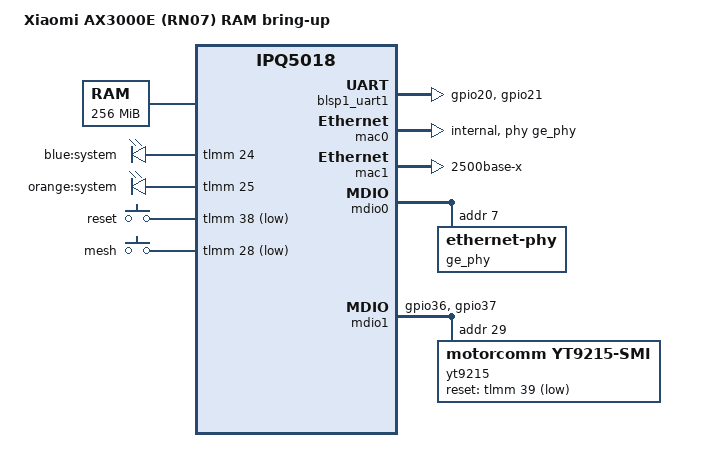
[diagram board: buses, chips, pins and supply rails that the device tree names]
// SPDX-License-Identifier: (GPL-2.0+)
/* Offline RN07 candidate; not a validated port or installation image.
 * Based on CR881x plus RN07 stock 1.0.24 DTB and yt_switch.ko evidence.
 * Flash and radio nodes remain disabled for initial RAM-only bring-up.
 * See docs/VALIDATION.md for the historical profile and remaining limits.
 */

/dts-v1/;

#include "ipq5018.dtsi"
#include <dt-bindings/gpio/gpio.h>
#include <dt-bindings/input/input.h>

/ {
	model = "Xiaomi AX3000E (RN07) RAM bring-up";
	compatible = "xiaomi,rn07", "qcom,ipq5018";

	#address-cells = <2>;
	#size-cells = <2>;
	interrupt-parent = <&intc>;

	memory@40000000 {
		device_type = "memory";
		/* Captured stock runtime FDT: 256 MiB, not the generic 512 MiB. */
		reg = <0 0x40000000 0 0x10000000>;
	};

	aliases {
		serial0 = &blsp1_uart1;

		ethernet0 = &mac0;
		ethernet1 = &mac1;

		led-boot = &led_system_blue;
		led-failsafe = &led_system_orange;
		led-running = &led_system_blue;
		led-upgrade = &led_system_orange;
	};

	chosen {
		// Never select a persistent rootfs in the RAM-only candidate.
		bootargs = "console=ttyMSM0,115200n8";
		bootargs-append = " root=/dev/ram0 rdinit=/init";
		stdout-path = "serial0:115200n8";
	};

	reserved-memory {
		/* Preserve the captured stock runtime DDR reservation union. */
		nss@40000000 {
			no-map;
			reg = <0 0x40000000 0 0x800000>;
		};
		uboot@4a800000 {
			no-map;
			reg = <0 0x4a800000 0 0x200000>;
		};
		sbl@4aa00000 {
			no-map;
			reg = <0 0x4aa00000 0 0x100000>;
		};

		q6_mem_regions: q6_mem_regions@4b000000 {
			no-map;
			reg = <0x0 0x4b000000 0x0 0x3000000>;
		};

		rsvd1@4e000000 {
			no-map;
			reg = <0 0x4e000000 0 0x80000>;
		};
		rsvd2@4e080000 {
			no-map;
			reg = <0 0x4e080000 0 0x80000>;
		};
	};

	thermal-zones {
		status = "ok";
	};
};

&tlmm {
	#address-cells = <0>;
	blsp_uart0_pins: blsp_uart0_pins {
		pins =
			"gpio20", // RX
			"gpio21"; // TX
		function = "blsp0_uart0";
		drive-strength = <8>;
		bias-disable;
	};

	qspi_nand_pins: qspi_nand_pins {
		clock {
			pins = "gpio9";
			function = "qspi_clk";
			drive-strength = <8>;
			bias-disable;
		};

		cs {
			pins = "gpio8";
			function = "qspi_cs";
			drive-strength = <8>;
			bias-disable;
		};

		data0 {
			pins = "gpio7";
			function = "qspi0";
			drive-strength = <8>;
			bias-disable;
		};

		data1 {
			pins = "gpio6";
			function = "qspi1";
			drive-strength = <8>;
			bias-disable;
		};

		data2 {
			pins = "gpio5";
			function = "qspi2";
			drive-strength = <8>;
			bias-disable;
		};

		data3 {
			pins = "gpio4";
			function = "qspi3";
			drive-strength = <8>;
			bias-disable;
		};
	};

	mdio1_pins: mdio1_pins {
		mdc {
			pins = "gpio36";
			function = "mdc";
			drive-strength = <8>;
			bias-pull-up;
		};

		mdio {
			pins = "gpio37";
			function = "mdio";
			drive-strength = <8>;
			bias-pull-up;
		};
	};

	leds_pins: leds_pins {
		led_system_blue {
			pins = "gpio24";
			function = "gpio";
			drive-strength = <8>;
			bias-pull-down;
		};

		led_system_orange {
			pins = "gpio25";
			function = "gpio";
			drive-strength = <8>;
			bias-pull-down;
		};


	};

	button_pins: button_pins {
		button_reset {
			pins = "gpio38";
			function = "gpio";
			drive-strength = <8>;
			bias-pull-up;
		};

		button_mesh {
			pins = "gpio28";
			function = "gpio";
			drive-strength = <8>;
			bias-pull-up;
		};
	};
};

&blsp1_uart1 {
	pinctrl-0 = <&blsp_uart0_pins>;
	pinctrl-names = "default";
	status = "ok";
};

&qpic_bam {
	status = "disabled";
};

&nand {
	pinctrl-0 = <&qspi_nand_pins>;
	pinctrl-names = "default";
	status = "disabled";
};

&soc {
	dma-ranges = <0 0 0 0xffffffff>;
	leds {
		compatible = "gpio-leds";
		pinctrl-0 = <&leds_pins>;
		pinctrl-names = "default";

		led_system_blue: led_system_blue {
			label = "blue:system";
			gpios = <&tlmm 24 GPIO_ACTIVE_HIGH>;
			default-state = "on";
		};

		led_system_orange: led_system_orange {
			label = "orange:system";
			gpios = <&tlmm 25 GPIO_ACTIVE_HIGH>;
		};


	};

	button {
		compatible = "gpio-keys";
		pinctrl-0 = <&button_pins>;
		pinctrl-names = "default";

		button_reset {
			label = "reset";
			gpios = <&tlmm 38 GPIO_ACTIVE_LOW>;
			linux,input-type = <EV_KEY>;
			linux,code = <KEY_RESTART>;
			debounce-interval = <60>;
		};

		button_mesh {
			label = "mesh";
			gpios = <&tlmm 28 GPIO_ACTIVE_LOW>;
			linux,input-type = <EV_KEY>;
			linux,code = <KEY_WPS_BUTTON>;
			debounce-interval = <60>;
		};
	};

	ess-instance {
		#address-cells = <1>;
		#size-cells = <1>;
		ranges;
		num_devices = <1>;

		// Dummy switch, to describe how the external ports connects to the MAC
		// For example, some chips have PSGMII ports which combine 5 MAC into
		// 1 external port.
		// For IPQ50xx, this is used to choose SGMII or SGMII-plus
		ess-switch@0x39c00000 {
			compatible = "qcom,ess-switch-ipq50xx";
			device_id = <0>;

			cmnblk_clk = "internal_96MHz";

			// MAC1 Mode
			switch_mac_mode = <0xc>; // PORT_WRAPPER_SGMII_PLUS
			// switch_mac_mode = <0xf>; // PORT_WRAPPER_SGMII_CHANNEL0

			qcom,port_phyinfo {
				// MAC0 -> GE Phy -> YT9215 Phy4
				port@0 {
					port_id = <1>;

					mdiobus = <&mdio0>;
					phy_address = <7>;

					phy_dac = <0x10 0x10>;
				};

				// MAC1 ---SGMII---> YT9215 SerDes
				port@1 {
					port_id = <2>;

					forced-speed = <2500>;
					forced-duplex = <1>;
				};
			};
		};
	};

	// MAC0 -> GE Phy
	mac0: dp1 {
		compatible = "qcom,nss-dp";
		device_type = "network";
		qcom,id = <1>;

		reg = <0x39C00000 0x10000>;
		interrupts = <GIC_SPI 101 IRQ_TYPE_LEVEL_HIGH>;
		clocks = <&gcc GCC_SNOC_GMAC0_AXI_CLK>;
		clock-names = "nss-snoc-gmac-axi-clk";

		qcom,mactype = <2>; // GMAC_HAL_TYPE_SYN_GMAC
		local-mac-address = [000000000000];
		phy-handle = <&ge_phy>;
		phy-mode = "internal";
	};

	// MAC1 ---SGMII---> YT9215 SerDes
	mac1: dp2 {
		compatible = "qcom,nss-dp";
		device_type = "network";
		qcom,id = <2>;

		reg = <0x39D00000 0x10000>;
		interrupts = <GIC_SPI 109 IRQ_TYPE_LEVEL_HIGH>;
		clocks = <&gcc GCC_SNOC_GMAC1_AXI_CLK>;
		clock-names = "nss-snoc-gmac-axi-clk";

		qcom,mactype = <2>; // GMAC_HAL_TYPE_SYN_GMAC
		local-mac-address = [000000000000];
		phy-mode = "2500base-x";
	};
};

&mdio0 {
	status = "ok";

	resets = <&gcc GCC_GEPHY_MDC_SW_ARES>;
	reset-names = "phy";

	// IPQ5018 GE Phy -> YT9215 Phy4
	ge_phy: ethernet-phy@7 {
		reg = <7>;
	};
};

&mdio1 {
	pinctrl-0 = <&mdio1_pins>;
	pinctrl-names = "default";
	status = "ok";

	// Motorcomm YT9215
	yt9215: switch@1d {
		compatible = "motorcomm,yt9215-smi";
		reg = <29>;
		switchid = <0>;

		reset-gpios = <&tlmm 39 GPIO_ACTIVE_LOW>;
		reset-assert-us = <100000>; /* stock driver: 100-110 ms */
		reset-deassert-us = <150000>; /* stock driver: 150-200 ms */

		ports {
			#address-cells = <1>;
			#size-cells = <0>;
			// External jack 4 (stock API maps 4 - jack to PHY)
			port@0 {
				reg = <0>;
			};

			// External jack 3
			port@1 {
				reg = <1>;
			};

			// External jack 2
			port@2 {
				reg = <2>;
			};

			// External jack 1; initial candidate WAN
			port@3 {
				reg = <3>;
			};

			// MAC4 -> Phy4 -> IPQ5018 GE Phy
			port@4 {
				reg = <4>;
			};

			// MAC8 ---SGMII+---> IPQ5018 MAC1
			port@8 {
				reg = <8>;
				phy-mode = "2500base-x";

				fixed-link {
					speed = <2500>;
					full-duplex;
				};
			};
		};
	};
};

&intc {
	#address-cells = <1>;
	#size-cells = <1>;
};

/* Wireless memory layout/firmware compatibility still needs validation. */
&q6v5_wcss { status = "disabled"; };
&wifi0 { qcom,board_id = <0x23>; status = "disabled"; };
&wifi1 { qcom,board_id = <0x60>; status = "disabled"; };
